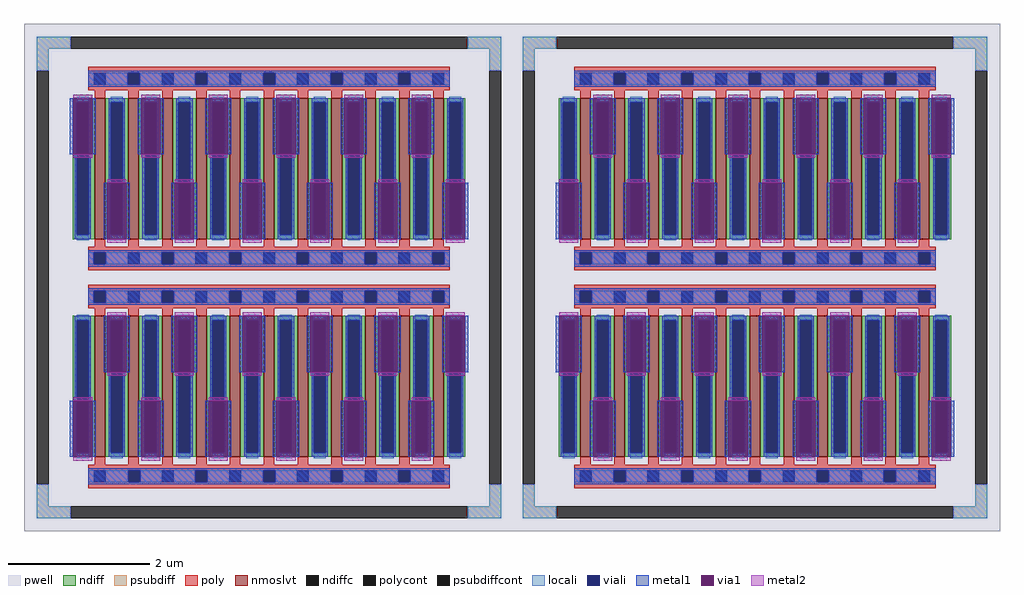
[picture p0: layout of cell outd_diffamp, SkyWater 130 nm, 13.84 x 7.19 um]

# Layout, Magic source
magic
tech sky130A
magscale 1 2
<< poly >>
rect 182 9230 1208 9246
rect 182 9196 294 9230
rect 328 9196 486 9230
rect 520 9196 678 9230
rect 712 9196 870 9230
rect 904 9196 1062 9230
rect 1096 9196 1208 9230
rect 182 9180 1208 9196
rect 1560 9230 2586 9246
rect 1560 9196 1672 9230
rect 1706 9196 1864 9230
rect 1898 9196 2056 9230
rect 2090 9196 2248 9230
rect 2282 9196 2440 9230
rect 2474 9196 2586 9230
rect 1560 9180 2586 9196
rect 182 8720 1208 8736
rect 182 8686 198 8720
rect 232 8686 390 8720
rect 424 8686 582 8720
rect 616 8686 774 8720
rect 808 8686 966 8720
rect 1000 8686 1158 8720
rect 1192 8686 1208 8720
rect 182 8670 1208 8686
rect 1560 8720 2586 8736
rect 1560 8686 1576 8720
rect 1610 8686 1768 8720
rect 1802 8686 1960 8720
rect 1994 8686 2152 8720
rect 2186 8686 2344 8720
rect 2378 8686 2536 8720
rect 2570 8686 2586 8720
rect 1560 8670 2586 8686
rect 182 8612 1208 8628
rect 182 8578 198 8612
rect 232 8578 390 8612
rect 424 8578 582 8612
rect 616 8578 774 8612
rect 808 8578 966 8612
rect 1000 8578 1158 8612
rect 1192 8578 1208 8612
rect 182 8562 1208 8578
rect 1560 8612 2586 8628
rect 1560 8578 1576 8612
rect 1610 8578 1768 8612
rect 1802 8578 1960 8612
rect 1994 8578 2152 8612
rect 2186 8578 2344 8612
rect 2378 8578 2536 8612
rect 2570 8578 2586 8612
rect 1560 8562 2586 8578
rect 182 8102 1208 8118
rect 182 8068 296 8102
rect 330 8068 486 8102
rect 520 8068 678 8102
rect 712 8068 870 8102
rect 904 8068 1062 8102
rect 1096 8068 1208 8102
rect 182 8052 1208 8068
rect 1560 8102 2586 8118
rect 1560 8068 1672 8102
rect 1706 8068 1864 8102
rect 1898 8068 2056 8102
rect 2090 8068 2248 8102
rect 2282 8068 2438 8102
rect 2472 8068 2586 8102
rect 1560 8052 2586 8068
<< polycont >>
rect 294 9196 328 9230
rect 486 9196 520 9230
rect 678 9196 712 9230
rect 870 9196 904 9230
rect 1062 9196 1096 9230
rect 1672 9196 1706 9230
rect 1864 9196 1898 9230
rect 2056 9196 2090 9230
rect 2248 9196 2282 9230
rect 2440 9196 2474 9230
rect 198 8686 232 8720
rect 390 8686 424 8720
rect 582 8686 616 8720
rect 774 8686 808 8720
rect 966 8686 1000 8720
rect 1158 8686 1192 8720
rect 1576 8686 1610 8720
rect 1768 8686 1802 8720
rect 1960 8686 1994 8720
rect 2152 8686 2186 8720
rect 2344 8686 2378 8720
rect 2536 8686 2570 8720
rect 198 8578 232 8612
rect 390 8578 424 8612
rect 582 8578 616 8612
rect 774 8578 808 8612
rect 966 8578 1000 8612
rect 1158 8578 1192 8612
rect 1576 8578 1610 8612
rect 1768 8578 1802 8612
rect 1960 8578 1994 8612
rect 2152 8578 2186 8612
rect 2344 8578 2378 8612
rect 2536 8578 2570 8612
rect 296 8068 330 8102
rect 486 8068 520 8102
rect 678 8068 712 8102
rect 870 8068 904 8102
rect 1062 8068 1096 8102
rect 1672 8068 1706 8102
rect 1864 8068 1898 8102
rect 2056 8068 2090 8102
rect 2248 8068 2282 8102
rect 2438 8068 2472 8102
<< locali >>
rect 182 9196 294 9230
rect 328 9196 486 9230
rect 520 9196 678 9230
rect 712 9196 870 9230
rect 904 9196 1062 9230
rect 1096 9196 1208 9230
rect 1560 9196 1672 9230
rect 1706 9196 1864 9230
rect 1898 9196 2056 9230
rect 2090 9196 2248 9230
rect 2282 9196 2440 9230
rect 2474 9196 2586 9230
rect 182 8686 198 8720
rect 232 8686 390 8720
rect 424 8686 582 8720
rect 616 8686 774 8720
rect 808 8686 966 8720
rect 1000 8686 1158 8720
rect 1192 8686 1208 8720
rect 1560 8686 1576 8720
rect 1610 8686 1768 8720
rect 1802 8686 1960 8720
rect 1994 8686 2152 8720
rect 2186 8686 2344 8720
rect 2378 8686 2536 8720
rect 2570 8686 2586 8720
rect 182 8578 198 8612
rect 232 8578 390 8612
rect 424 8578 582 8612
rect 616 8578 774 8612
rect 808 8578 966 8612
rect 1000 8578 1158 8612
rect 1192 8578 1208 8612
rect 1560 8578 1576 8612
rect 1610 8578 1768 8612
rect 1802 8578 1960 8612
rect 1994 8578 2152 8612
rect 2186 8578 2344 8612
rect 2378 8578 2536 8612
rect 2570 8578 2586 8612
rect 182 8068 296 8102
rect 330 8068 486 8102
rect 520 8068 678 8102
rect 712 8068 870 8102
rect 904 8068 1062 8102
rect 1096 8068 1208 8102
rect 1560 8068 1672 8102
rect 1706 8068 1864 8102
rect 1898 8068 2056 8102
rect 2090 8068 2248 8102
rect 2282 8068 2438 8102
rect 2472 8068 2586 8102
<< viali >>
rect 294 9196 328 9230
rect 486 9196 520 9230
rect 678 9196 712 9230
rect 870 9196 904 9230
rect 1062 9196 1096 9230
rect 1672 9196 1706 9230
rect 1864 9196 1898 9230
rect 2056 9196 2090 9230
rect 2248 9196 2282 9230
rect 2440 9196 2474 9230
rect 198 8686 232 8720
rect 390 8686 424 8720
rect 582 8686 616 8720
rect 774 8686 808 8720
rect 966 8686 1000 8720
rect 1158 8686 1192 8720
rect 1576 8686 1610 8720
rect 1768 8686 1802 8720
rect 1960 8686 1994 8720
rect 2152 8686 2186 8720
rect 2344 8686 2378 8720
rect 2536 8686 2570 8720
rect 198 8578 232 8612
rect 390 8578 424 8612
rect 582 8578 616 8612
rect 774 8578 808 8612
rect 966 8578 1000 8612
rect 1158 8578 1192 8612
rect 1576 8578 1610 8612
rect 1768 8578 1802 8612
rect 1960 8578 1994 8612
rect 2152 8578 2186 8612
rect 2344 8578 2378 8612
rect 2536 8578 2570 8612
rect 296 8068 330 8102
rect 486 8068 520 8102
rect 678 8068 712 8102
rect 870 8068 904 8102
rect 1062 8068 1096 8102
rect 1672 8068 1706 8102
rect 1864 8068 1898 8102
rect 2056 8068 2090 8102
rect 2248 8068 2282 8102
rect 2438 8068 2472 8102
<< metal1 >>
rect 182 9230 1208 9236
rect 182 9196 294 9230
rect 328 9196 486 9230
rect 520 9196 678 9230
rect 712 9196 870 9230
rect 904 9196 1062 9230
rect 1096 9196 1208 9230
rect 182 9190 1208 9196
rect 1560 9230 2586 9236
rect 1560 9196 1672 9230
rect 1706 9196 1864 9230
rect 1898 9196 2056 9230
rect 2090 9196 2248 9230
rect 2282 9196 2440 9230
rect 2474 9196 2586 9230
rect 1560 9190 2586 9196
rect 130 8998 140 9158
rect 194 8998 204 9158
rect 322 8998 332 9158
rect 386 8998 396 9158
rect 514 8998 524 9158
rect 578 8998 588 9158
rect 706 8998 716 9158
rect 770 8998 780 9158
rect 898 8998 908 9158
rect 962 8998 972 9158
rect 1090 8998 1100 9158
rect 1154 8998 1164 9158
rect 1604 8998 1614 9158
rect 1668 8998 1678 9158
rect 1796 8998 1806 9158
rect 1860 8998 1870 9158
rect 1988 8998 1998 9158
rect 2052 8998 2062 9158
rect 2180 8998 2190 9158
rect 2244 8998 2254 9158
rect 2372 8998 2382 9158
rect 2436 8998 2446 9158
rect 2564 8998 2574 9158
rect 2628 8998 2638 9158
rect 226 8758 236 8918
rect 290 8758 300 8918
rect 418 8758 428 8918
rect 482 8758 492 8918
rect 610 8758 620 8918
rect 674 8758 684 8918
rect 802 8758 812 8918
rect 866 8758 876 8918
rect 994 8758 1004 8918
rect 1058 8758 1068 8918
rect 1186 8758 1196 8918
rect 1250 8758 1260 8918
rect 1508 8758 1518 8918
rect 1572 8758 1582 8918
rect 1700 8758 1710 8918
rect 1764 8758 1774 8918
rect 1892 8758 1902 8918
rect 1956 8758 1966 8918
rect 2084 8758 2094 8918
rect 2148 8758 2158 8918
rect 2276 8758 2286 8918
rect 2340 8758 2350 8918
rect 2468 8758 2478 8918
rect 2532 8758 2542 8918
rect 182 8720 1208 8726
rect 182 8686 198 8720
rect 232 8686 390 8720
rect 424 8686 582 8720
rect 616 8686 774 8720
rect 808 8686 966 8720
rect 1000 8686 1158 8720
rect 1192 8686 1208 8720
rect 182 8680 1208 8686
rect 1560 8720 2586 8726
rect 1560 8686 1576 8720
rect 1610 8686 1768 8720
rect 1802 8686 1960 8720
rect 1994 8686 2152 8720
rect 2186 8686 2344 8720
rect 2378 8686 2536 8720
rect 2570 8686 2586 8720
rect 1560 8680 2586 8686
rect 182 8612 1208 8618
rect 182 8578 198 8612
rect 232 8578 390 8612
rect 424 8578 582 8612
rect 616 8578 774 8612
rect 808 8578 966 8612
rect 1000 8578 1158 8612
rect 1192 8578 1208 8612
rect 182 8572 1208 8578
rect 1560 8612 2586 8618
rect 1560 8578 1576 8612
rect 1610 8578 1768 8612
rect 1802 8578 1960 8612
rect 1994 8578 2152 8612
rect 2186 8578 2344 8612
rect 2378 8578 2536 8612
rect 2570 8578 2586 8612
rect 1560 8572 2586 8578
rect 226 8380 236 8540
rect 290 8380 300 8540
rect 418 8380 428 8540
rect 482 8380 492 8540
rect 610 8380 620 8540
rect 674 8380 684 8540
rect 802 8380 812 8540
rect 866 8380 876 8540
rect 994 8380 1004 8540
rect 1058 8380 1068 8540
rect 1186 8380 1196 8540
rect 1250 8380 1260 8540
rect 1508 8380 1518 8540
rect 1572 8380 1582 8540
rect 1700 8380 1710 8540
rect 1764 8380 1774 8540
rect 1892 8380 1902 8540
rect 1956 8380 1966 8540
rect 2084 8380 2094 8540
rect 2148 8380 2158 8540
rect 2276 8380 2286 8540
rect 2340 8380 2350 8540
rect 2468 8380 2478 8540
rect 2532 8380 2542 8540
rect 130 8140 140 8300
rect 194 8140 204 8300
rect 322 8140 332 8300
rect 386 8140 396 8300
rect 514 8140 524 8300
rect 578 8140 588 8300
rect 706 8140 716 8300
rect 770 8140 780 8300
rect 898 8140 908 8300
rect 962 8140 972 8300
rect 1090 8140 1100 8300
rect 1154 8140 1164 8300
rect 1604 8140 1614 8300
rect 1668 8140 1678 8300
rect 1796 8140 1806 8300
rect 1860 8140 1870 8300
rect 1988 8140 1998 8300
rect 2052 8140 2062 8300
rect 2180 8140 2190 8300
rect 2244 8140 2254 8300
rect 2372 8140 2382 8300
rect 2436 8140 2446 8300
rect 2564 8140 2574 8300
rect 2628 8140 2638 8300
rect 182 8102 1208 8108
rect 182 8068 296 8102
rect 330 8068 486 8102
rect 520 8068 678 8102
rect 712 8068 870 8102
rect 904 8068 1062 8102
rect 1096 8068 1208 8102
rect 182 8062 1208 8068
rect 1560 8102 2586 8108
rect 1560 8068 1672 8102
rect 1706 8068 1864 8102
rect 1898 8068 2056 8102
rect 2090 8068 2248 8102
rect 2282 8068 2438 8102
rect 2472 8068 2586 8102
rect 1560 8062 2586 8068
<< via1 >>
rect 140 8998 194 9158
rect 332 8998 386 9158
rect 524 8998 578 9158
rect 716 8998 770 9158
rect 908 8998 962 9158
rect 1100 8998 1154 9158
rect 1614 8998 1668 9158
rect 1806 8998 1860 9158
rect 1998 8998 2052 9158
rect 2190 8998 2244 9158
rect 2382 8998 2436 9158
rect 2574 8998 2628 9158
rect 236 8758 290 8918
rect 428 8758 482 8918
rect 620 8758 674 8918
rect 812 8758 866 8918
rect 1004 8758 1058 8918
rect 1196 8758 1250 8918
rect 1518 8758 1572 8918
rect 1710 8758 1764 8918
rect 1902 8758 1956 8918
rect 2094 8758 2148 8918
rect 2286 8758 2340 8918
rect 2478 8758 2532 8918
rect 236 8380 290 8540
rect 428 8380 482 8540
rect 620 8380 674 8540
rect 812 8380 866 8540
rect 1004 8380 1058 8540
rect 1196 8380 1250 8540
rect 1518 8380 1572 8540
rect 1710 8380 1764 8540
rect 1902 8380 1956 8540
rect 2094 8380 2148 8540
rect 2286 8380 2340 8540
rect 2478 8380 2532 8540
rect 140 8140 194 8300
rect 332 8140 386 8300
rect 524 8140 578 8300
rect 716 8140 770 8300
rect 908 8140 962 8300
rect 1100 8140 1154 8300
rect 1614 8140 1668 8300
rect 1806 8140 1860 8300
rect 1998 8140 2052 8300
rect 2190 8140 2244 8300
rect 2382 8140 2436 8300
rect 2574 8140 2628 8300
<< metal2 >>
rect 140 9158 194 9168
rect 140 8988 194 8998
rect 332 9158 386 9168
rect 332 8988 386 8998
rect 524 9158 578 9168
rect 524 8988 578 8998
rect 716 9158 770 9168
rect 716 8988 770 8998
rect 908 9158 962 9168
rect 908 8988 962 8998
rect 1100 9158 1154 9168
rect 1100 8988 1154 8998
rect 1614 9158 1668 9168
rect 1614 8988 1668 8998
rect 1806 9158 1860 9168
rect 1806 8988 1860 8998
rect 1998 9158 2052 9168
rect 1998 8988 2052 8998
rect 2190 9158 2244 9168
rect 2190 8988 2244 8998
rect 2382 9158 2436 9168
rect 2382 8988 2436 8998
rect 2574 9158 2628 9168
rect 2574 8988 2628 8998
rect 236 8918 290 8928
rect 236 8748 290 8758
rect 428 8918 482 8928
rect 428 8748 482 8758
rect 620 8918 674 8928
rect 620 8748 674 8758
rect 812 8918 866 8928
rect 812 8748 866 8758
rect 1004 8918 1058 8928
rect 1004 8748 1058 8758
rect 1196 8918 1250 8928
rect 1196 8748 1250 8758
rect 1518 8918 1572 8928
rect 1518 8748 1572 8758
rect 1710 8918 1764 8928
rect 1710 8748 1764 8758
rect 1902 8918 1956 8928
rect 1902 8748 1956 8758
rect 2094 8918 2148 8928
rect 2094 8748 2148 8758
rect 2286 8918 2340 8928
rect 2286 8748 2340 8758
rect 2478 8918 2532 8928
rect 2478 8748 2532 8758
rect 236 8540 290 8550
rect 236 8370 290 8380
rect 428 8540 482 8550
rect 428 8370 482 8380
rect 620 8540 674 8550
rect 620 8370 674 8380
rect 812 8540 866 8550
rect 812 8370 866 8380
rect 1004 8540 1058 8550
rect 1004 8370 1058 8380
rect 1196 8540 1250 8550
rect 1196 8370 1250 8380
rect 1518 8540 1572 8550
rect 1518 8370 1572 8380
rect 1710 8540 1764 8550
rect 1710 8370 1764 8380
rect 1902 8540 1956 8550
rect 1902 8370 1956 8380
rect 2094 8540 2148 8550
rect 2094 8370 2148 8380
rect 2286 8540 2340 8550
rect 2286 8370 2340 8380
rect 2478 8540 2532 8550
rect 2478 8370 2532 8380
rect 140 8300 194 8310
rect 140 8130 194 8140
rect 332 8300 386 8310
rect 332 8130 386 8140
rect 524 8300 578 8310
rect 524 8130 578 8140
rect 716 8300 770 8310
rect 716 8130 770 8140
rect 908 8300 962 8310
rect 908 8130 962 8140
rect 1100 8300 1154 8310
rect 1100 8130 1154 8140
rect 1614 8300 1668 8310
rect 1614 8130 1668 8140
rect 1806 8300 1860 8310
rect 1806 8130 1860 8140
rect 1998 8300 2052 8310
rect 1998 8130 2052 8140
rect 2190 8300 2244 8310
rect 2190 8130 2244 8140
rect 2382 8300 2436 8310
rect 2382 8130 2436 8140
rect 2574 8300 2628 8310
rect 2574 8130 2628 8140
use sky130_fd_pr__nfet_01v8_lvt_324MKY  sky130_fd_pr__nfet_01v8_lvt_324MKY_0
transform 1 0 695 0 1 8649
box -695 -719 695 719
use sky130_fd_pr__nfet_01v8_lvt_324MKY  sky130_fd_pr__nfet_01v8_lvt_324MKY_2
transform -1 0 2073 0 1 8649
box -695 -719 695 719
<< end >>

# cell sky130_fd_pr__nfet_01v8_lvt_324MKY: kit device sky130_fd_pr__nfet_01v8_lvt, w 2 l 0.150 m 2 nf 11 diffcov 100 polycov 100 guard 1 glc 1 grc 1 gtc 1 gbc 1 tbcov 100 rlcov 100 topc 1 botc 1 poverlap 0 doverlap 1 lmin 0.15 wmin 0.42 compatible {sky130_fd_pr__nfet_01v8 sky130_fd_pr__nfet_01v8_lvt sky130_fd_bs_flash__special_sonosfet_star sky130_fd_pr__nfet_g5v0d10v5 sky130_fd_pr__nfet_05v0_nvt sky130_fd_pr__nfet_03v3_nvt} full_metal 1 viasrc 100 viadrn 100 viagate 100 viagb 0 viagr 0 viagl 0 viagt 0
